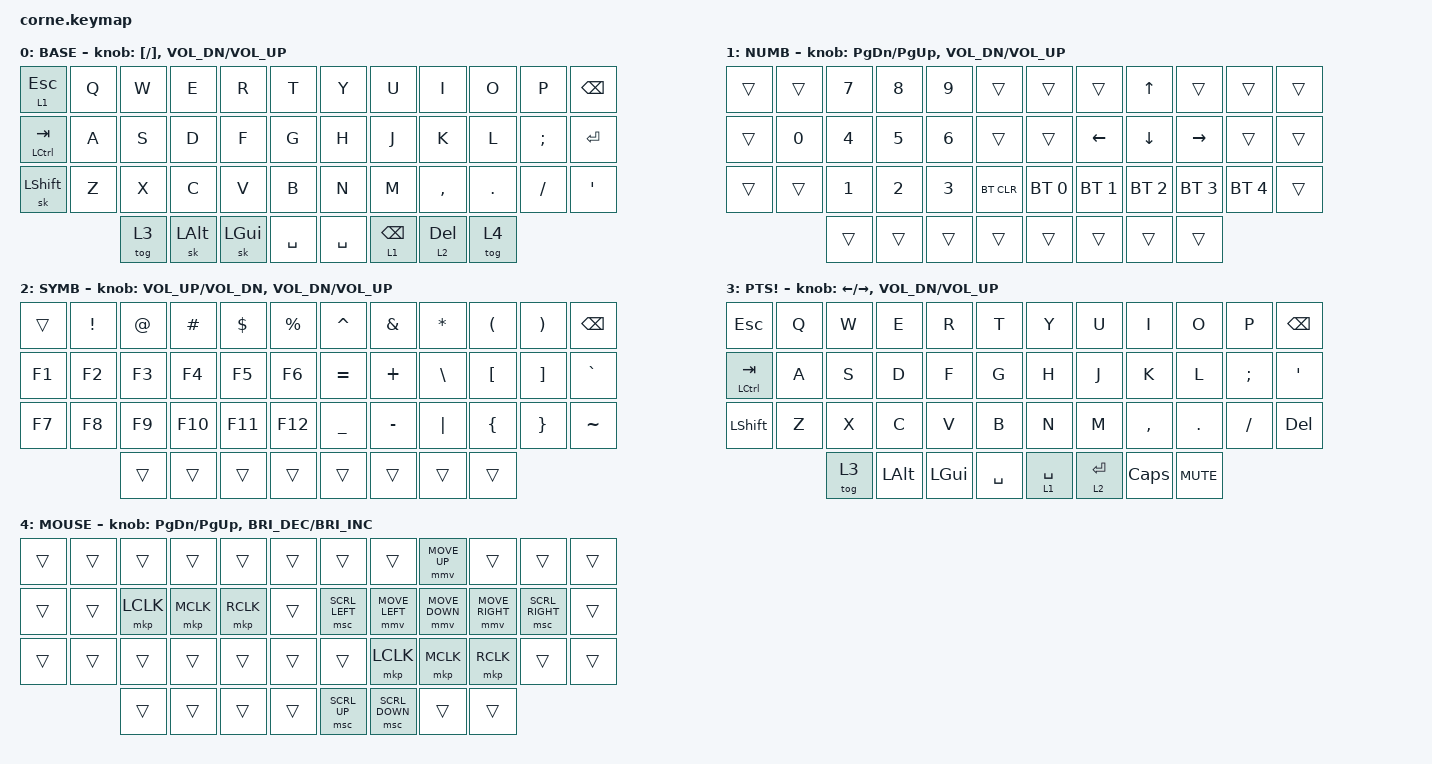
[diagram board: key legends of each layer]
#include <behaviors.dtsi>
#include <dt-bindings/zmk/bt.h>
#include <dt-bindings/zmk/keys.h>
#define ZMK_POINTING_DEFAULT_MOVE_VAL 1500  // default: 600
#define ZMK_POINTING_DEFAULT_SCRL_VAL 20    // default: 10
#include <dt-bindings/zmk/pointing.h>

/ {
    keymap {
        compatible = "zmk,keymap";

        default_layer {
            display-name = "BASE";

            bindings = <
   &lt 1 ESCAPE   &kp Q           &kp W        &kp E       &kp R        &kp T        &kp Y   &kp U        &kp I         &kp O             &kp P              &kp BSPC
// &mt LCTRL TAB  &mt LEFT_ALT A  &mt LCTRL S  &mt LGUI D  &mt LSHFT F  &kp G        &kp H   &mt LSHFT J  &mt LGUI K    &mt LCTRL L       &mt LEFT_ALT SEMI  &kp SQT
   &mt LCTRL TAB  &kp A           &kp S        &kp D       &kp F        &kp G        &kp H   &kp J        &kp K         &kp L             &kp SEMI           &kp RET
   &sk LSHFT      &kp Z           &kp X        &kp C       &kp V        &kp B        &kp N   &kp M        &kp COMMA     &kp DOT           &kp FSLH           &kp SQT
                                     &tog 3 &sk LEFT_ALT  &sk LGUI  &kp SPACE        &kp SPACE  &lt 1 BSPC  &lt 2 DEL &tog 4
            >;

            sensor-bindings = <&inc_dec_kp LEFT_BRACKET RIGHT_BRACKET &inc_dec_kp C_VOL_DN C_VOL_UP>;
        };

        lower_layer {
            display-name = "NUMB";

            bindings = <
&trans    &trans  &kp N7  &kp N8    &kp N9    &trans           &trans       &trans       &kp UP       &trans       &trans       &trans
&trans    &kp N0  &kp N4  &kp N5    &kp N6    &trans           &trans       &kp LEFT     &kp DOWN     &kp RIGHT    &trans       &trans
&trans    &trans  &kp N1  &kp N2    &kp N3    &bt BT_CLR       &bt BT_SEL 0 &bt BT_SEL 1 &bt BT_SEL 2 &bt BT_SEL 3 &bt BT_SEL 4 &trans
                 &trans &trans  &trans  &trans       &trans  &trans    &trans &trans
            >;

            sensor-bindings = <&inc_dec_kp PG_DN PG_UP &inc_dec_kp C_VOL_DN C_VOL_UP>;
        };

        raise_layer {
            display-name = "SYMB";

            bindings = <
&trans  &kp EXCL    &kp AT        &kp HASH      &kp DLLR   &kp PRCNT         &kp CARET  &kp AMPS   &kp ASTRK  &kp LPAR   &kp RPAR    &kp BSPC
&kp F1  &kp F2      &kp F3        &kp F4        &kp F5     &kp F6            &kp EQUAL  &kp PLUS   &kp BSLH   &kp LBKT   &kp RBKT    &kp GRAVE
&kp F7  &kp F8      &kp F9        &kp F10       &kp F11    &kp F12           &kp UNDER  &kp MINUS  &kp PIPE   &kp LBRC   &kp RBRC    &kp TILDE
                            &trans    &trans    &trans     &trans            &trans  &trans    &trans &trans
            >;

            sensor-bindings = <&inc_dec_kp C_VOL_UP C_VOL_DN &inc_dec_kp C_VOL_DN C_VOL_UP>;
        };
Photoshop_layer {
            display-name = "PTS!";

            bindings = <
   &kp ESCAPE     &kp Q           &kp W        &kp E       &kp R        &kp T        &kp Y   &kp U        &kp I         &kp O             &kp P              &kp BSPC
// &mt LCTRL TAB  &mt LEFT_ALT A  &mt LCTRL S  &mt LGUI D  &mt LSHFT F  &kp G        &kp H   &mt LSHFT J  &mt LGUI K    &mt LCTRL L       &mt LEFT_ALT SEMI  &kp SQT
   &mt LCTRL TAB  &kp A           &kp S        &kp D       &kp F        &kp G        &kp H   &kp J        &kp K         &kp L             &kp SEMI           &kp SQT
   &kp LSHFT      &kp Z           &kp X        &kp C       &kp V        &kp B        &kp N   &kp M        &kp COMMA     &kp DOT           &kp FSLH           &kp DEL
                                     &tog 3 &kp LEFT_ALT  &kp LGUI  &kp SPACE        &lt 1 SPACE  &lt 2 RET  &kp CAPS &kp K_MUTE
            >;

            sensor-bindings = <&inc_dec_kp LEFT_ARROW RIGHT_ARROW &inc_dec_kp C_VOL_DN C_VOL_UP>;
        };
 mouse_layer {
            display-name = "MOUSE";

            bindings = <
 &trans    &trans  &trans    &trans    &trans    &trans           &trans          &trans             &mmv MOVE_UP       &trans             &trans           &trans
 &trans    &trans  &mkp LCLK &mkp MCLK &mkp RCLK &trans           &msc SCRL_LEFT  &mmv MOVE_LEFT     &mmv MOVE_DOWN     &mmv MOVE_RIGHT    &msc SCRL_RIGHT  &trans
 &trans    &trans  &trans    &trans    &trans    &trans           &trans          &mkp LCLK          &mkp MCLK          &mkp RCLK    &trans    &trans
                            &trans &trans &trans &trans           &msc SCRL_UP &msc SCRL_DOWN &trans &trans
            >;

            sensor-bindings = <&inc_dec_kp PG_DN PG_UP &inc_dec_kp C_BRI_DEC C_BRI_INC>;
        };
    };
};
